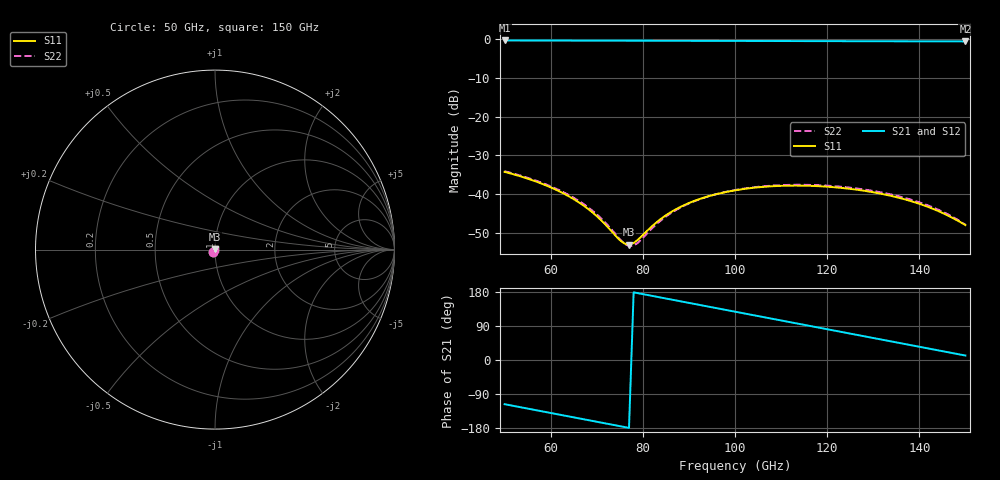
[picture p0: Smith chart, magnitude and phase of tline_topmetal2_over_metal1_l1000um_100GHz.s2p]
#  GHZ S DB R 50
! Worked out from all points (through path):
!   101 points, 50 GHz to 150 GHz, reference 50 ohm
!   highest |S21| = -0.42 dB at 50 GHz (marker M1); lowest = -0.7 dB at 150 GHz (marker M2)
!   group delay of S21, straight-line fit = 6.43 ps
!   lowest |S11| = -53.0 dB at 77 GHz (marker M3), VSWR 1.00, Z = 50.1 + j0.212 ohm
!   |S11| at or under -10 dB: start of sweep to end of sweep
!   |S22| runs from -53.4 to -34.1 dB; largest |S21 - S12| = 1.1e-14
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50  -34.24 -127.3  -0.42 -116.6  -0.42 -116.6  -34.08 -127.1
55  -35.98 -142.9  -0.43 -128.2  -0.43 -128.2  -35.78 -142.5
60  -38.23 -159.5  -0.44 -139.8  -0.44 -139.8  -37.97 -158.8
67  -42.81 173.1  -0.46 -156.0  -0.46 -156.0  -42.42 174.7
71  -46.75 150.5  -0.47 -165.3  -0.47 -165.3  -46.27 153.6
75  -51.80 107.5  -0.48 -174.5  -0.48 -174.5  -51.55 114.5
76  -52.69 90.1  -0.48 -176.9  -0.48 -176.9  -52.72 98.0
77  -52.98 70.8  -0.48 -179.2  -0.48 -179.2  -53.37 78.4
78  -52.56 52.0  -0.48 178.5  -0.48 178.5  -53.23 58.1
79  -51.65 35.8  -0.49 176.2  -0.49 176.2  -52.41 39.9
84  -46.26 -10.2  -0.50 164.6  -0.50 164.6  -46.65 -10.1
87  -43.97 -25.7  -0.51 157.7  -0.51 157.7  -44.20 -25.8
91  -41.79 -42.1  -0.52 148.4  -0.52 148.4  -41.89 -42.2
95  -40.27 -56.5  -0.53 139.1  -0.53 139.1  -40.28 -56.5
100  -38.99 -73.1  -0.54 127.5  -0.54 127.5  -38.92 -72.9
105  -38.22 -88.9  -0.55 115.9  -0.55 115.9  -38.09 -88.5
109  -37.89 -101.3  -0.56 106.7  -0.56 106.7  -37.72 -100.6
117  -37.87 -125.7  -0.59 88.2  -0.59 88.2  -37.63 -124.5
125  -38.62 -150.0  -0.61 69.6  -0.61 69.6  -38.32 -148.1
134  -40.46 -178.6  -0.63 48.8  -0.63 48.8  -40.10 -175.6
143  -43.77 148.1  -0.65 28.0  -0.65 28.0  -43.42 153.2
150  -47.94 110.8  -0.67 11.8  -0.67 11.8  -47.85 119.3
